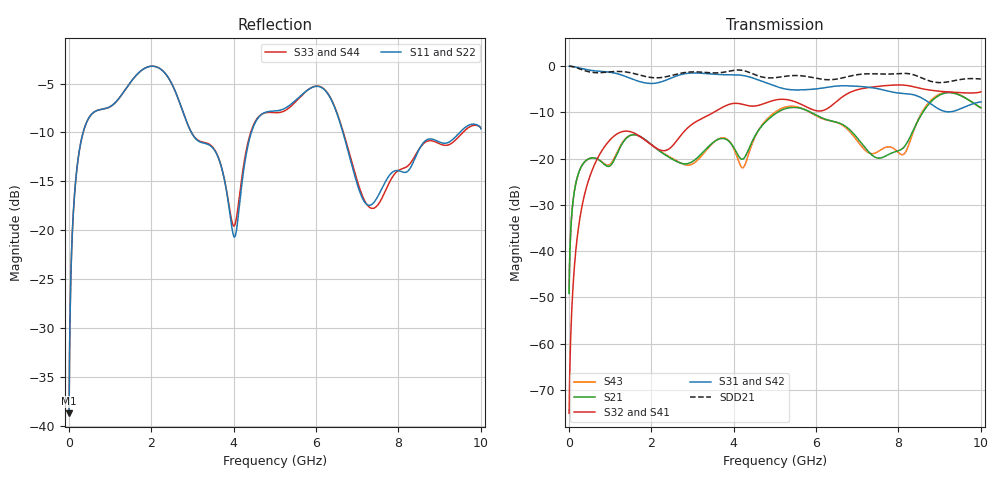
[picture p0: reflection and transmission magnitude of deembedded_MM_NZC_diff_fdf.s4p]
# GHz S MA R 50
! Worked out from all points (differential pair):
!   1000 points, 10 MHz to 10 GHz, reference 50 ohm
!   strongest paths, dB at 10 MHz, 2.51 GHz, 5.01 GHz, 7.51 GHz, 10 GHz:
!     S31: 0.0, -2.5, -4.3, -4.9, -7.7
!     S42: 0.0, -2.5, -4.3, -4.9, -7.7
!     S32: -75.1, -17.3, -7.3, -4.4, -5.5
!     S41: -75.1, -17.3, -7.3, -4.4, -5.5
!     S21: -49.2, -20.1, -10.3, -19.9, -9.0
!     S43: -49.0, -19.9, -9.9, -18.4, -9.0
!   taken as a pair (ports 1,2 in; 3,4 out), SDD21 dB: 0.0, -2.0, -2.5, -1.7, -2.7
!   lowest |S11| = -38.7 dB at 10 MHz (marker M1), VSWR 1.02, Z = 50.3 - j1.14 ohm
!   |S11| at or under -10 dB: start of sweep to 350.3 MHz; 2.976 GHz to 4.431 GHz (1.455 GHz wide, 39.3 % of centre); 6.653 GHz to 9.486 GHz (2.833 GHz wide, 35.1 % of centre)
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0.01  0.01161 -76.8  0.003485 101.0  0.9994 -1.5  0.0001767 59.0
      0.003485 101.0  0.01161 -76.8  0.0001767 59.0  0.9994 -1.5
      0.9994 -1.5  0.0001767 59.0  0.01175 -108.2  0.003559 73.5
      0.0001767 59.0  0.9994 -1.5  0.003559 73.5  0.01175 -108.2
0.31  0.2919 -136.0  0.08262 46.8  0.9444 -46.2  0.02864 -75.1
      0.08262 46.8  0.2919 -136.0  0.02864 -75.1  0.9444 -46.2
      0.9444 -46.2  0.02864 -75.1  0.292 -136.7  0.08262 45.9
      0.02864 -75.1  0.9444 -46.2  0.08262 45.9  0.292 -136.7
1.14  0.4519 107.2  0.1048 35.7  0.8365 -160.7  0.1809 102.8
      0.1048 35.7  0.4519 107.2  0.1809 102.8  0.8365 -160.7
      0.8365 -160.7  0.1809 102.8  0.4507 108.0  0.1089 35.8
      0.1809 102.8  0.8365 -160.7  0.1089 35.8  0.4507 108.0
2.77  0.4041 -90.8  0.08825 176.2  0.8205 -3.2  0.1897 -94.7
      0.08825 176.2  0.4041 -90.8  0.1897 -94.7  0.8205 -3.2
      0.8205 -3.2  0.1897 -94.7  0.4037 -91.0  0.08738 176.3
      0.1897 -94.7  0.8205 -3.2  0.08738 176.3  0.4037 -91.0
3.97  0.09985 167.3  0.1395 -80.7  0.8062 -176.0  0.3939 94.3
      0.1395 -80.7  0.09985 167.3  0.3939 94.3  0.8062 -176.0
      0.8062 -176.0  0.3939 94.3  0.1088 171.7  0.138 -74.9
      0.3939 94.3  0.8062 -176.0  0.138 -74.9  0.1088 171.7
5.21  0.4165 92.2  0.3413 16.0  0.5719 12.9  0.4384 -86.0
      0.3413 16.0  0.4165 92.2  0.4384 -86.0  0.5719 12.9
      0.5719 12.9  0.4384 -86.0  0.4051 93.7  0.3559 17.4
      0.4384 -86.0  0.5719 12.9  0.3559 17.4  0.4051 93.7
10  0.3301 -13.7  0.3558 -85.8  0.4109 89.4  0.5292 -11.5
    0.3558 -85.8  0.3301 -13.7  0.5292 -11.5  0.4109 89.4
    0.4109 89.4  0.5292 -11.5  0.3333 -14.4  0.3565 -87.1
    0.5292 -11.5  0.4109 89.4  0.3565 -87.1  0.3333 -14.4
